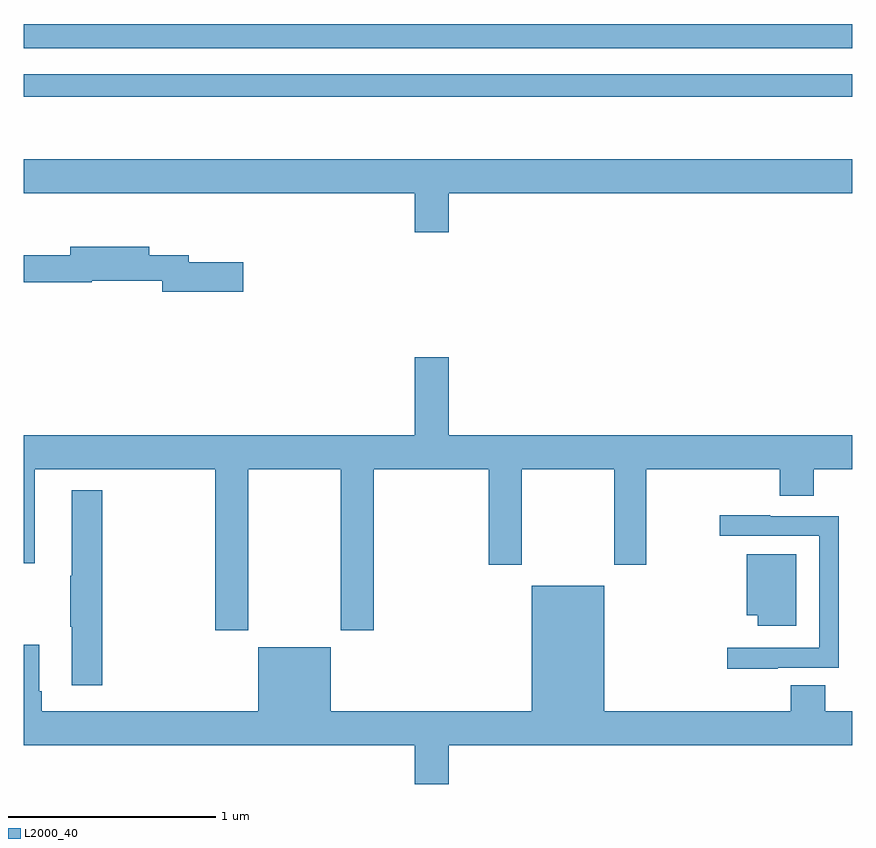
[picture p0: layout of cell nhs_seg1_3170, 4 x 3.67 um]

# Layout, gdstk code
import gdstk
lib = gdstk.Library(unit=1e-6, precision=1e-09)
def R(c, l, rs):  # rectangles x0, y0, x1, y1
    for r in rs: c.add(gdstk.rectangle(r[:2], r[2:], *l))
def P(c, l, *ps):  # polygons
    for p in ps: c.add(gdstk.Polygon(p, *l))
L2000_40 = (2000, 40)

nhs_seg1_3170 = lib.new_cell('nhs_seg1_3170')
R(nhs_seg1_3170, L2000_40, [(283,529.554,287,529.662), (283,529.788,287,529.904)])
P(nhs_seg1_3170, L2000_40, [(285.052,529.088),(287,529.088),(287,529.252),(283,529.252),(283,529.088),(284.888,529.088),(284.888,528.9),(285.052,528.9)],
  [(284.059,528.753),(283.798,528.753),(283.798,528.787),(283.606,528.787),(283.606,528.829),(283.226,528.829),(283.226,528.787),(283,528.787),(283,528.658),(283.33,528.658),(283.33,528.665),(283.67,528.665),(283.67,528.611),(284.059,528.611)],
  [(284.085,527.756),(284.53,527.756),(284.53,526.977),(284.69,526.977),(284.69,527.756),(285.245,527.756),(285.245,527.295),(285.405,527.295),(285.405,527.756),(285.85,527.756),(285.85,527.295),(286.005,527.295),(286.005,527.756),(286.649,527.756),(286.649,527.628),(286.814,527.628),(286.814,527.756),(287,527.756),(287,527.92),(285.052,527.92),(285.052,528.295),(284.888,528.295),(284.888,527.92),(283,527.92),(283,527.301),(283.054,527.301),(283.054,527.756),(283.925,527.756),(283.925,526.977),(284.085,526.977)],
  [(283.379,527.653),(283.232,527.653),(283.232,527.24),(283.225,527.24),(283.225,526.996),(283.232,526.996),(283.232,526.713),(283.379,526.713)],
  [(286.639,526.797),(286.935,526.797),(286.935,527.529),(286.603,527.529),(286.603,527.533),(286.359,527.533),(286.359,527.433),(286.839,527.433),(286.839,526.893),(286.395,526.893),(286.395,526.793),(286.639,526.793)],
  [(286.729,527.344),(286.49,527.344),(286.49,527.051),(286.544,527.051),(286.544,527),(286.729,527)],
  [(285.052,526.424),(287,526.424),(287,526.588),(286.868,526.588),(286.868,526.712),(286.703,526.712),(286.703,526.588),(285.802,526.588),(285.802,527.194),(285.452,527.194),(285.452,526.588),(284.482,526.588),(284.482,526.897),(284.132,526.897),(284.132,526.588),(283.088,526.588),(283.088,526.684),(283.075,526.684),(283.075,526.909),(283,526.909),(283,526.424),(284.888,526.424),(284.888,526.236),(285.052,526.236)])

lib.write_gds('nhs_seg1_3170.gds')
